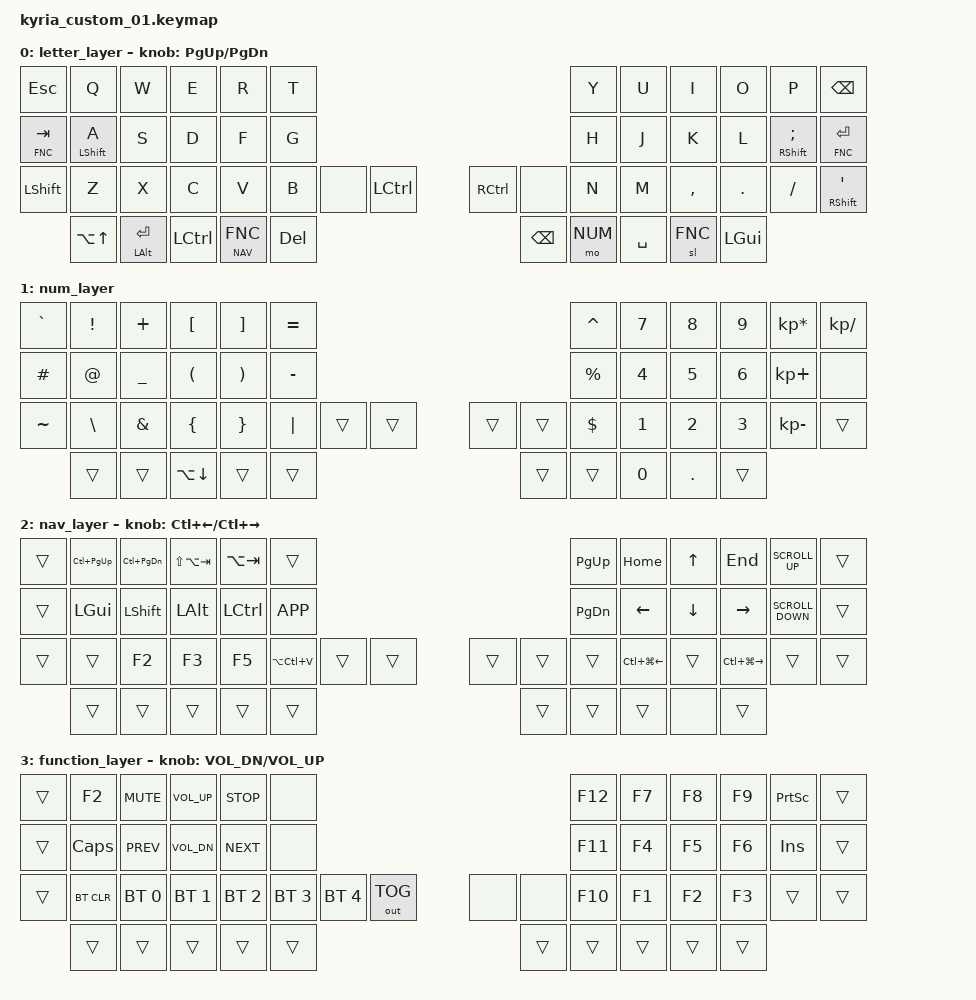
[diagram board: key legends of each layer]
// forked from "kyria_example_01.keymap"

#include <behaviors.dtsi>
#include <dt-bindings/zmk/keys.h>
#include <dt-bindings/zmk/bt.h>
#include <dt-bindings/zmk/outputs.h>

#define LETTER 	0
#define NAV   	1
#define NUM   	2
#define FNC   	3

#define PTAB LC(PG_UP)
#define NTAB LC(PG_DN)
#define NWIN LA(TAB)
#define PWIN LS(LA(TAB))
#define XSLV LA(LC(V))
#define PDESK LC(LG(RIGHT))
#define NDESK LC(LG(LEFT))
#define LR_DOWN LA(DOWN)
#define LR_UP LA(UP)

&sl {
	release-after-ms = <1000>;
};

// default_layer {
// ---------------------------------------------------------------------------------------------------------------------------------
// |  ESC  |  Q  |  W  |  E   |  R   |  T   |                                          |  Y   |  U    |  I    |  O   |   P   |   \  |
// |  TAB  |  A  |  S  |  D   |  F   |  G   |                                          |  H   |  J    |  K    |  L   |   ;   |   '  |
// | SHIFT |  Z  |  X  |  C   |  V   |  B   | L SHIFT | L SHIFT |  | L SHIFT | L SHIFT |  N   |  M    |  ,    |  .   |   /   | CTRL |
//                     | GUI  | DEL  | RET  |  SPACE  |   ESC   |  |   RET   |  SPACE  | TAB  | BSPC  | R-ALT |


/ {
		behaviors {
    // hm: homerow_mods {
    //   compatible = "zmk,behavior-hold-tap";
    //   label = "HOMEROW_MODS";
    //   #binding-cells = <2>;
    //   tapping_term_ms = <200>;
    //   flavor = "tap-preferred";
    //   bindings = <&kp>, <&cp>;
    // };
		hm: homerow_mods {
	    compatible = "zmk,behavior-hold-tap";
	    label = "homerow mods";
	    #binding-cells = <2>;
	    tapping_term_ms = <220>;
	    flavor = "balanced";
	    bindings = <&kp>, <&kp>;
	  };

	  mx: layer_tap_FNC {
			compatible = "zmk,behavior-hold-tap";
			label = "LAYER_TAP_FNC";
			#binding-cells = <2>;
			flavor = "hold-preferred";
			tapping_term_ms = <200>;
			bindings = <&mo>, <&sl>;
		};
	};

	keymap {
		compatible = "zmk,keymap";

		letter_layer {
// ---------------------------------------------------------------------------------------------------------------------------------
// |  ESC  |  Q  |  W  |  E   |  R   |  T   |                                          |  Y   |  U    |  I    |  O   |   P   | bksp |
// | TAB/FN|  A  |  S  |  D   |  F   |  G   |                                          |  H   |  J    |  K    |  L   |   ;   |ent/fn|
// | SHIFT |  Z  |  X  |  C   |  V   |  B   | ---     |  ctrl   |  |   ctrl  |  ---    |  N   |  M    |  ,    |  .   |   /   |shft/'|
//                     | LR_UP|Alt/En| Ctrl |  Nav    |   del   |  |   bksp  |  num    | spc  | FNC  | LGUI  |
			bindings = <
	&kp ESC     &kp Q       &kp W &kp E &kp R &kp T                                            &kp Y &kp U  &kp I     &kp O   &kp P         &kp BSPC
	&lt FNC TAB &hm LSHFT A &kp S &kp D &kp F &kp G                                            &kp H &kp J  &kp K     &kp L   &hm RSHFT SEMI &lt FNC RET
	&kp LSHFT   &kp Z       &kp X &kp C &kp V &kp B &none   &kp LCTRL         &kp RCTRL &none  &kp N &kp M  &kp COMMA &kp DOT &kp FSLH      &mt RSHFT SQT
	              &kp LR_UP &mt LALT RET  &kp LCTRL &mx NAV FNC &kp DEL            &kp BKSP &mo NUM &kp SPC &sl FNC &kp LGUI
			>;

			sensor-bindings = <&inc_dec_kp PG_UP PG_DN>;
		};

	num_layer {
// ---------------------------------------------------------------------------------------------------------------------------------
// | `     |  !  |  +  |  [   |  ]   |  =   |                                          |  %   |  7    |  8    |  9   |   *   | /    |
// | #     |  @  |  _  |  (   |  )   |  -   |                                          |  $   |  4    |  5    |  6   |   +   | ---  |
// | ~     |  \  |  &  |  {   |  }   |  |   |   ---   |  ---    |  |   ---   |  ---    |  ^   |  1    |  2    |  3   |   -   | ---  |
//                     | ---  | ---  |LR_DOWN|   ---   |  ---    |  |   ---   |  ---    | ---  | ---   | ---   |
			bindings = <
	&kp GRAVE &kp EXCL &kp PLUS  &kp LBKT &kp RBKT &kp EQUAL                             &kp CARET &kp N7 &kp N8 &kp N9 &kp KP_MULTIPLY &kp KP_DIVIDE
	&kp HASH  &kp AT   &kp UNDER &kp LPAR &kp RPAR &kp MINUS                             &kp PRCNT &kp N4 &kp N5 &kp N6 &kp KP_PLUS &none
	&kp TILDE &kp BSLH &kp AMPS  &kp LBRC &kp RBRC &kp PIPE &trans &trans  &trans &trans &kp DLLR  &kp N1 &kp N2 &kp N3 &kp KP_MINUS &trans
	                       &trans  &trans   &kp LR_DOWN          &trans &trans  &trans &trans    &kp N0  &kp DOT    &trans
			>;
		};

	nav_layer {
// ---------------------------------------------------------------------------------------------------------------------------------
// | ---  | Tab-| Tab+| win+ | win- | excel|                                          | Pgup | Home |  Up   | End  | ScrUp | ---  |
// | ---  | Win | Shft| alt  | ctrl | app  |                                          | Pgdw | Left |  Down | Right| ScrDn | ---  |
// | ---  | --- | F2  | F3   | F5   | excel|   ---   |  ---    |  |   ---   |  ---    |      | Predk| ---   | NxDk |   -   |---   |
//                    | ENC  | ---  | ---  |   ---   |  ---    |  |   ---   |  ---    | ---  | ---  | ---   |
			bindings = <
	&trans &kp PTAB &kp NTAB  &kp PWIN &kp NWIN  &trans                                &kp PG_UP &kp HOME &kp UP   &kp END   &kp K_SCROLL_UP &trans
	&trans &kp LGUI &kp LSHFT &kp LALT &kp LCTRL &kp K_APP                             &kp PG_DN &kp LEFT &kp DOWN &kp RIGHT &kp K_SCROLL_DOWN &trans
	&trans &trans   &kp F2    &kp F3   &kp F5    &kp XSLV &trans &trans  &trans &trans &trans   &kp NDESK &trans   &kp PDESK &trans &trans
	                       &trans  &trans   &trans        &trans &trans  &trans &trans    &trans    &none     &trans
			>;

			sensor-bindings = <&inc_dec_kp LC(LEFT) LC(RIGHT)>;
		};

	function_layer {
// ---------------------------------------------------------------------------------------------------------------------------------
// | none  |  F2 | mute| V+   | stp  |   @  |                                       | F12  |  F7   |  F8   |  F9  | Print| none |
// | none  | caps| Prev| V-   | Next |   @p |                                       | F11  |  F4   |  F5   |  F6  | Ins  | none |
// | none  | /Ble| Ble0| Ble1 | Ble2 | Ble3 |  Ble4  |  ---    |  |   ---   |  ---  | F10  |  F1   |  F2   |  F3  | ---  | none |
//                     | ---  | ---  | ---  |  ---   |  ---    |  |   ---   |  ---  | ---  | ---   | ---   |
			bindings = <
	&trans &kp F2     &kp C_MUTE   &kp C_VOL_UP &kp C_STOP   &none                                                &kp F12 &kp F7 &kp F8 &kp F9 &kp PSCRN &trans
	&trans &kp CAPS   &kp C_PREV   &kp C_VOL_DN &kp C_NEXT   &none                                                &kp F11 &kp F4 &kp F5 &kp F6 &kp INS  &trans
	&trans &bt BT_CLR &bt BT_SEL 0 &bt BT_SEL 1 &bt BT_SEL 2 &bt BT_SEL 3 &bt BT_SEL 4 &out OUT_TOG  &none  &none &kp F10 &kp F1 &kp F2 &kp F3 &trans   &trans
	                         &trans        &trans        &trans           &trans       &trans        &trans &trans &trans &trans &trans
			>;

			sensor-bindings = <&inc_dec_cp C_VOL_DN C_VOL_UP>;
		};
};
